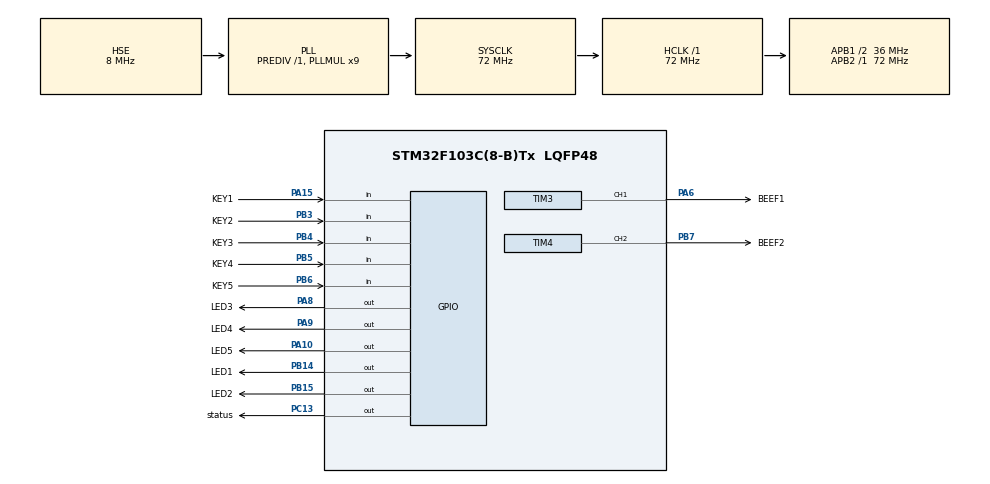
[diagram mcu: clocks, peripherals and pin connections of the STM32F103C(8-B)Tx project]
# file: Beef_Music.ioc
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Mcu.Family=STM32F1
Mcu.Name=STM32F103C(8-B)Tx
Mcu.Package=LQFP48
NVIC.PriorityGroup=NVIC_PRIORITYGROUP_4
NVIC.TIM3_IRQn=true\:0\:0\:false\:false\:true\:true\:true\:true
PA0-WKUP.Mode=SYS_WakeUp0
PA0-WKUP.Signal=SYS_WKUP
PA10.GPIO_Label=LED5
PA10.GPIO_PuPd=GPIO_NOPULL
PA10.Signal=GPIO_Output
PA13.Mode=Serial_Wire
PA13.Signal=SYS_JTMS-SWDIO
PA14.Mode=Serial_Wire
PA14.Signal=SYS_JTCK-SWCLK
PA15.GPIO_Label=KEY1
PA15.GPIO_PuPd=GPIO_PULLDOWN
PA15.Signal=GPIO_Input
PA6.GPIO_Label=BEEF1
PA6.GPIO_ModeDefaultPP=GPIO_MODE_AF_PP
PA6.Signal=S_TIM3_CH1
PA8.GPIO_Label=LED3
PA8.GPIO_PuPd=GPIO_NOPULL
PA8.Signal=GPIO_Output
PA9.GPIO_Label=LED4
PA9.GPIO_PuPd=GPIO_NOPULL
PA9.Signal=GPIO_Output
PB14.GPIO_Label=LED1
PB14.GPIO_PuPd=GPIO_NOPULL
PB14.Signal=GPIO_Output
PB15.GPIO_Label=LED2
PB15.GPIO_PuPd=GPIO_NOPULL
PB15.Signal=GPIO_Output
PB3.GPIO_Label=KEY2
PB3.GPIO_PuPd=GPIO_PULLDOWN
PB3.Signal=GPIO_Input
PB4.GPIO_Label=KEY3
PB4.GPIO_PuPd=GPIO_PULLDOWN
PB4.Signal=GPIO_Input
PB5.GPIO_Label=KEY4
PB5.GPIO_PuPd=GPIO_PULLDOWN
PB5.Signal=GPIO_Input
PB6.GPIO_Label=KEY5
PB6.GPIO_PuPd=GPIO_PULLDOWN
PB6.Signal=GPIO_Input
PB7.GPIO_Label=BEEF2
PB7.Signal=S_TIM4_CH2
PC13-TAMPER-RTC.GPIO_Label=status
PC13-TAMPER-RTC.GPIO_PuPd=GPIO_NOPULL
PC13-TAMPER-RTC.Signal=GPIO_Output
PD0-OSC_IN.Mode=HSE-External-Oscillator
PD0-OSC_IN.Signal=RCC_OSC_IN
PD1-OSC_OUT.Mode=HSE-External-Oscillator
PD1-OSC_OUT.Signal=RCC_OSC_OUT
ProjectManager.HeapSize=0x200
ProjectManager.StackSize=0x400
ProjectManager.TargetToolchain=CMake
RCC.AHBFreq_Value=72000000
RCC.APB1CLKDivider=RCC_HCLK_DIV2
RCC.APB1Freq_Value=36000000
RCC.APB1TimFreq_Value=72000000
RCC.APB2Freq_Value=72000000
RCC.APB2TimFreq_Value=72000000
RCC.HCLKFreq_Value=72000000
RCC.PLLMUL=RCC_PLL_MUL9
RCC.PLLSourceVirtual=RCC_PLLSOURCE_HSE
RCC.SYSCLKFreq_VALUE=72000000
RCC.SYSCLKSource=RCC_SYSCLKSOURCE_PLLCLK
RCC.USBFreq_Value=72000000
SH.S_TIM3_CH1.0=TIM3_CH1,PWM Generation1 CH1
SH.S_TIM4_CH2.0=TIM4_CH2,PWM Generation2 CH2
TIM3.AutoReloadPreload=TIM_AUTORELOAD_PRELOAD_ENABLE
TIM3.Channel-PWM\ Generation1\ CH1=TIM_CHANNEL_1
TIM3.OCPolarity_1=TIM_OCPOLARITY_LOW
TIM3.Period=499
TIM3.Prescaler=71
TIM4.AutoReloadPreload=TIM_AUTORELOAD_PRELOAD_ENABLE
TIM4.Channel-PWM\ Generation2\ CH2=TIM_CHANNEL_2
TIM4.OCPolarity_2=TIM_OCPOLARITY_LOW
TIM4.Period=499
TIM4.Prescaler=71
VP_TIM3_VS_ClockSourceINT.Mode=Internal
VP_TIM4_VS_ClockSourceINT.Mode=Internal
board=custom

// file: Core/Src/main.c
/* USER CODE BEGIN Header */
/**
  ******************************************************************************
  * @file           : main.c
  * @brief          : Main program body
  ******************************************************************************
  * @attention
  *
  * Copyright (c) 2025 STMicroelectronics.
  * All rights reserved.
  *
  * This software is licensed under terms that can be found in the LICENSE file
  * in the root directory of this software component.
  * If no LICENSE file comes with this software, it is provided AS-IS.
  *
  ******************************************************************************
  */
/* USER CODE END Header */
#include "main.h"
#include "tim.h"
#include "gpio.h"

/* USER CODE BEGIN Includes */
#include "songs.h"
/* USER CODE END Includes */

void SystemClock_Config(void);
/* USER CODE BEGIN PFP */
int index = 0;  // 当前音符索引
int is_start = 0;  // 是否开始播放
int song_index = 0;  // 当前歌曲索引
/* USER CODE END PFP */

/* USER CODE BEGIN 0 */
void Delay_Ms(uint32_t ms) {
    SysTick->LOAD = SystemCoreClock / 1000 - 1;  // 重装载值
    SysTick->VAL = 0;                           // 清空计数器
    SysTick->CTRL = SysTick_CTRL_ENABLE_Msk;    // 启动SysTick

    for (uint32_t i = 0; i < ms; i++) {
        while (!(SysTick->CTRL & SysTick_CTRL_COUNTFLAG_Msk)); // 等待计数完成
    }
    SysTick->CTRL = 0;  // 关闭SysTick
}

void playTone(uint16_t freq) {
  if(freq != NOTE_REST) {
    uint32_t arr = (1000000 / freq) - 1;  // 计算ARR值
    TIM3->ARR = arr;             // 设置频率
    TIM3->CCR1 = arr / 4;        // 占空比
    TIM3->EGR |= TIM_EGR_UG;     // 强制更新寄存器
  }else {
    TIM3->CCR1 = 0;              // 休止符时关闭PWM
  }
}

int switch_song() {
  int which_song; // 检测按键状态，选择不同的歌曲
  if (!song_index)
  {
      if (HAL_GPIO_ReadPin(GPIOA, GPIO_PIN_15))
    {
      which_song = 1;  // 选择第一首歌
    } else if (HAL_GPIO_ReadPin(GPIOB, GPIO_PIN_3)) {
      which_song = 2;  // 选择第二首歌
    } else if (HAL_GPIO_ReadPin(GPIOB, GPIO_PIN_4)) {
      which_song = 3;  // 选择第三首歌
    } else if (HAL_GPIO_ReadPin(GPIOB, GPIO_PIN_5)) {
      which_song = 4;   // 选择第四首歌
    } else if (HAL_GPIO_ReadPin(GPIOB, GPIO_PIN_6)) {
      which_song = 5;  // 选择第五首歌
    } else {
      which_song = 0;  // 没有按键被按下
    }
  } else {
    which_song = song_index;  // 如果已经有歌曲在播放，则保持当前歌曲
  }
  song_index = which_song;  // 更新当前歌曲索引
  return which_song;  // 返回选择的歌曲编号
}

int is_button_pressed() {
  if (HAL_GPIO_ReadPin(GPIOA, GPIO_PIN_15) ||
      HAL_GPIO_ReadPin(GPIOB, GPIO_PIN_3) ||
      HAL_GPIO_ReadPin(GPIOB, GPIO_PIN_4) ||
      HAL_GPIO_ReadPin(GPIOB, GPIO_PIN_5) ||
      HAL_GPIO_ReadPin(GPIOB, GPIO_PIN_6))  // 检测按键是否被按下
  {
    return switch_song();  // 按键被按下
  }
  return 0;  // 按键未被按下
}

void play_song() {
  // 根据 song_index 播放对应的歌曲
  switch (song_index) {
    case 1:
      is_start = 1;  // 切换播放状态
      if (Stars_song[index].tone != 1000) {
        playTone(Stars_song[index].tone);  // 播放音符
        Delay_Ms(Stars_song[index].duration * BEAT_DURATION);  // 延时
        playTone(NOTE_REST);  // 停止音符
        Delay_Ms(BEAT_DURATION * 0.2);  // 延时
    } else {
        playTone(NOTE_REST);  // 播放休止符
        Delay_Ms(BEAT_DURATION);  // 延时
    }
    index++;  // 移动到下一个音符
    if (Stars_song[index].tone == 0) {  // 如果到达最后一个音符
        is_start = 0;  // 停止播放
        index = 0;  // 重置索引
        song_index = 0;  // 重置歌曲索引
      }
      break;

    case 2:
      is_start = 1;  // 切换播放状态
      if (OrdinaryRoad_song[index].tone != 1000) {
        playTone(OrdinaryRoad_song[index].tone);  // 播放音符
        Delay_Ms(OrdinaryRoad_song[index].duration * BEAT_DURATION);  // 延时
        playTone(NOTE_REST);  // 停止音符
        Delay_Ms(BEAT_DURATION * 0.2);  // 延时
    } else {
        playTone(NOTE_REST);  // 播放休止符
        Delay_Ms(BEAT_DURATION);  // 延时
    }
    index++;  // 移动到下一个音符
    if (OrdinaryRoad_song[index].tone == 0) {  // 如果到达最后一个音符
        is_start = 0;  // 停止播放
        index = 0;  // 重置索引
        song_index = 0;  // 重置歌曲索引
      }
    break;

    case 3:
      is_start = 1;  // 切换播放状态
      if (Mario[index].tone != 1000) {
        playTone(Mario[index].tone);  // 播放音符
        Delay_Ms(Mario[index].duration * BEAT_DURATION);  // 延时
        playTone(NOTE_REST);  // 停止音符
        Delay_Ms(BEAT_DURATION * 0.2);  // 延时
      } else {
          playTone(NOTE_REST);  // 播放休止符
          Delay_Ms(BEAT_DURATION);  // 延时
      }
      index++;  // 移动到下一个音符
      if (Mario[index].tone == 0) {  // 如果到达最后一个音符
          is_start = 0;  // 停止播放
          index = 0;  // 重置索引
          song_index = 0;  // 重置歌曲索引
      }
      break;
    case 4:

      break;
    case 5:

    default:

      break;
  }

}
/* USER CODE END 0 */

int main(void)
{

  /* USER CODE BEGIN 1 */
  // uint16_t pwmVal=0;   //PWM占空比
  // uint8_t dir_1=1;
  /* USER CODE END 1 */

  /* MCU Configuration--------------------------------------------------------*/

  /* Reset of all peripherals, Initializes the Flash interface and the Systick. */
  HAL_Init();

  /* Configure the system clock */
  SystemClock_Config();

  /* Initialize all configured peripherals */
  MX_GPIO_Init();
  MX_TIM3_Init();
  MX_TIM4_Init();
  /* USER CODE BEGIN 2 */
  HAL_TIM_PWM_Start(&htim3,TIM_CHANNEL_1);
  /* USER CODE END 2 */

  /* Infinite loop */
  while (1)
  {

    /* USER CODE BEGIN 3 */
    if(is_start != 0 || is_button_pressed()){
      is_start = 1;  // 切换播放状态
      switch_song();
      play_song();  // 切换歌曲
      // HAL_GPIO_WritePin(GPIOC,GPIO_PIN_13, HIGH);
      HAL_GPIO_WritePin(GPIOB,GPIO_PIN_14, HIGH);
    }else{
    HAL_GPIO_WritePin(GPIOB,GPIO_PIN_14, LOW);
    HAL_GPIO_TogglePin(GPIOC,GPIO_PIN_13);
    // HAL_Delay(50);
  }
  /* USER CODE END 3 */
}
}
void SystemClock_Config(void)
{
  RCC_OscInitTypeDef RCC_OscInitStruct = {0};
  RCC_ClkInitTypeDef RCC_ClkInitStruct = {0};

  /** Initializes the RCC Oscillators according to the specified parameters
  * in the RCC_OscInitTypeDef structure.
  */
  RCC_OscInitStruct.OscillatorType = RCC_OSCILLATORTYPE_HSE;
  RCC_OscInitStruct.HSEState = RCC_HSE_ON;
  RCC_OscInitStruct.HSEPredivValue = RCC_HSE_PREDIV_DIV1;
  RCC_OscInitStruct.HSIState = RCC_HSI_ON;
  RCC_OscInitStruct.PLL.PLLState = RCC_PLL_ON;
  RCC_OscInitStruct.PLL.PLLSource = RCC_PLLSOURCE_HSE;
  RCC_OscInitStruct.PLL.PLLMUL = RCC_PLL_MUL9;
  if (HAL_RCC_OscConfig(&RCC_OscInitStruct) != HAL_OK)
  {
    Error_Handler();
  }

  /** Initializes the CPU, AHB and APB buses clocks
  */
  RCC_ClkInitStruct.ClockType = RCC_CLOCKTYPE_HCLK|RCC_CLOCKTYPE_SYSCLK
                              |RCC_CLOCKTYPE_PCLK1|RCC_CLOCKTYPE_PCLK2;
  RCC_ClkInitStruct.SYSCLKSource = RCC_SYSCLKSOURCE_PLLCLK;
  RCC_ClkInitStruct.AHBCLKDivider = RCC_SYSCLK_DIV1;
  RCC_ClkInitStruct.APB1CLKDivider = RCC_HCLK_DIV2;
  RCC_ClkInitStruct.APB2CLKDivider = RCC_HCLK_DIV1;

  if (HAL_RCC_ClockConfig(&RCC_ClkInitStruct, FLASH_LATENCY_2) != HAL_OK)
  {
    Error_Handler();
  }
}

void Error_Handler(void)
{
  __disable_irq();
  while (1)
  {
  }
}
